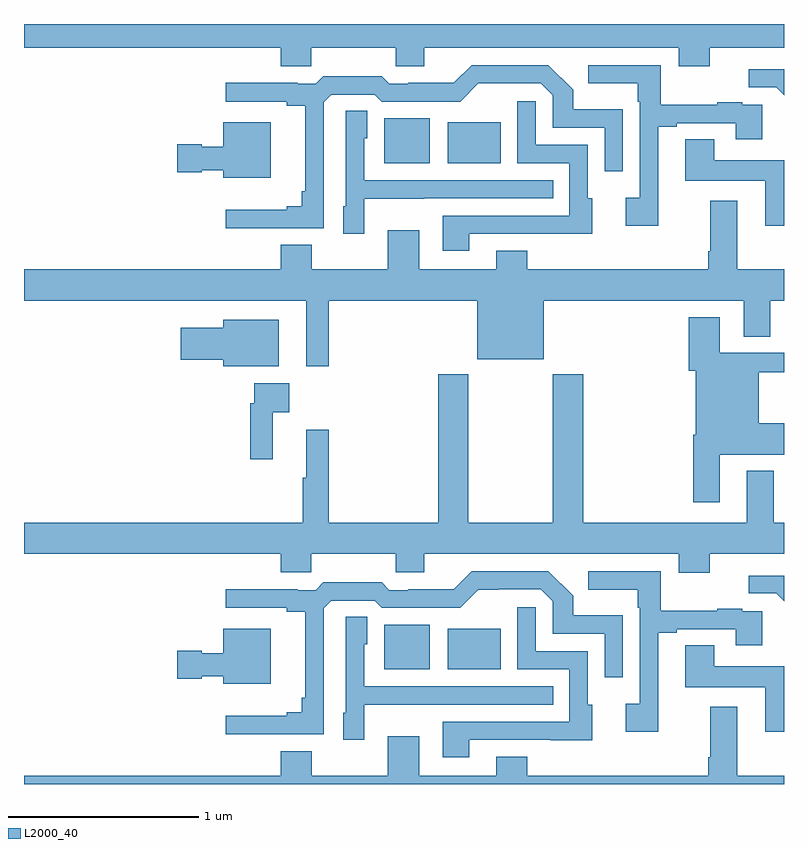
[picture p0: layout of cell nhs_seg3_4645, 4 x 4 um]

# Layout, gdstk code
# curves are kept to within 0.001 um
import gdstk
lib = gdstk.Library(unit=1e-6, precision=1e-09)
def R(c, l, rs):  # rectangles x0, y0, x1, y1
    for r in rs: c.add(gdstk.rectangle(r[:2], r[2:], *l))
def P(c, l, *ps):  # polygons
    for p in ps: c.add(gdstk.Polygon(p, *l))
L2000_40 = (2000, 40)

nhs_seg3_4645 = lib.new_cell('nhs_seg3_4645')
R(nhs_seg3_4645, L2000_40, [(362.897,671.003,363.136,671.239), (363.23,671.003,363.508,671.218), (362.897,673.667,363.136,673.903), (363.23,673.667,363.508,673.882)])
P(nhs_seg3_4645, L2000_40, [(364.609,674.276),(365,674.276),(365,674.4),(361,674.4),(361,674.276),(362.351,674.276),(362.351,674.178),(362.511,674.178),(362.511,674.276),(362.956,674.276),(362.956,674.178),(363.106,674.178),(363.106,674.276),(364.445,674.276),(364.445,674.177),(364.609,674.177)],
  [(364.339,673.86),(364.435,673.86),(364.435,673.878),(364.745,673.878),(364.745,673.794),(364.885,673.794),(364.885,673.974),(364.781,673.974),(364.781,673.987),(364.649,673.987),(364.649,673.976),(364.351,673.976),(364.351,674.184),(363.969,674.184),(363.969,674.087),(364.23,674.087),(364.23,673.991),(364.242,673.991),(364.242,673.486),(364.167,673.486),(364.167,673.338),(364.339,673.338)],
  [(362.577,673.989),(362.616,674.028),(362.847,674.028),(362.883,673.992),(363.297,673.992),(363.392,674.087),(363.72,674.088),(363.783,674.025),(363.783,673.854),(364.056,673.854),(364.056,673.626),(364.152,673.626),(364.152,673.951),(363.891,673.951),(363.891,674.054),(363.76,674.184),(363.357,674.184),(363.263,674.09),(363.022,674.09),(363.022,674.085),(362.922,674.085),(362.883,674.125),(362.575,674.125),(362.535,674.085),(362.441,674.085),(362.441,674.09),(362.061,674.09),(362.061,673.992),(362.384,673.992),(362.384,673.97),(362.48,673.97),(362.48,673.519),(362.461,673.519),(362.461,673.442),(362.384,673.442),(362.384,673.423),(362.061,673.423),(362.061,673.326),(362.577,673.326)],
  [(365,674.161),(364.815,674.161),(364.815,674.067),(364.959,674.067),(365,674.026)],
  [(363.343,673.296),(363.773,673.296),(363.773,673.295),(363.991,673.295),(363.991,673.482),(363.966,673.482),(363.966,673.764),(363.693,673.764),(363.693,673.993),(363.597,673.993),(363.597,673.668),(363.87,673.668),(363.87,673.392),(363.203,673.392),(363.203,673.206),(363.343,673.206)],
  [(362.79,673.481),(363.107,673.481),(363.107,673.482),(363.785,673.482),(363.785,673.578),(362.79,673.578),(362.79,673.8),(362.806,673.8),(362.806,673.943),(362.694,673.943),(362.694,673.44),(362.681,673.44),(362.681,673.296),(362.79,673.296)],
  [(362.299,673.882),(362.048,673.882),(362.048,673.753),(361.935,673.753),(361.935,673.766),(361.806,673.766),(361.806,673.619),(361.935,673.619),(361.935,673.631),(362.048,673.631),(362.048,673.592),(362.299,673.592)],
  [(365,673.684),(364.633,673.684),(364.633,673.793),(364.481,673.793),(364.481,673.574),(364.901,673.574),(364.901,673.338),(365,673.338)],
  [(362.603,672.944),(363.386,672.944),(363.386,672.635),(363.736,672.635),(363.736,672.944),(364.787,672.944),(364.787,672.754),(364.927,672.754),(364.927,672.944),(365,672.944),(365,673.108),(364.753,673.108),(364.753,673.471),(364.613,673.471),(364.613,673.204),(364.601,673.204),(364.601,673.108),(363.649,673.108),(363.649,673.207),(363.485,673.207),(363.485,673.108),(363.079,673.108),(363.079,673.315),(362.915,673.315),(362.915,673.108),(362.515,673.108),(362.515,673.237),(362.351,673.237),(362.351,673.108),(361,673.108),(361,672.944),(362.486,672.944),(362.486,672.6),(362.603,672.6)],
  [(364.663,672.134),(365,672.134),(365,672.298),(364.867,672.298),(364.867,672.568),(365,672.568),(365,672.669),(364.663,672.669),(364.663,672.856),(364.499,672.856),(364.499,672.576),(364.535,672.576),(364.535,672.238),(364.523,672.238),(364.523,671.883),(364.663,671.883)],
  [(362.341,672.844),(362.048,672.844),(362.048,672.802),(361.824,672.802),(361.824,672.632),(362.048,672.632),(362.048,672.599),(362.341,672.599)],
  [(364.609,671.612),(365,671.612),(365,671.776),(364.945,671.776),(364.945,672.049),(364.805,672.049),(364.805,671.776),(363.944,671.776),(363.944,672.556),(363.784,672.556),(363.784,671.776),(363.339,671.776),(363.339,672.556),(363.179,672.556),(363.179,671.776),(362.603,671.776),(362.603,672.265),(362.486,672.265),(362.486,672.012),(362.467,672.012),(362.467,671.776),(361,671.776),(361,671.612),(362.351,671.612),(362.351,671.514),(362.511,671.514),(362.511,671.612),(362.956,671.612),(362.956,671.514),(363.106,671.514),(363.106,671.612),(364.445,671.612),(364.445,671.513),(364.609,671.513)],
  [(362.309,672.356),(362.395,672.356),(362.395,672.508),(362.211,672.508),(362.211,672.404),(362.191,672.404),(362.191,672.108),(362.309,672.108)],
  [(362.577,671.325),(362.616,671.364),(362.847,671.364),(362.883,671.328),(363.297,671.328),(363.392,671.423),(363.72,671.424),(363.783,671.361),(363.783,671.19),(364.056,671.19),(364.056,670.962),(364.152,670.962),(364.152,671.287),(363.891,671.287),(363.891,671.39),(363.76,671.52),(363.357,671.52),(363.263,671.426),(363.022,671.426),(363.022,671.421),(362.922,671.421),(362.883,671.461),(362.575,671.461),(362.535,671.421),(362.441,671.421),(362.441,671.426),(362.061,671.426),(362.061,671.328),(362.384,671.328),(362.384,671.306),(362.48,671.306),(362.48,670.855),(362.461,670.855),(362.461,670.778),(362.384,670.778),(362.384,670.759),(362.061,670.759),(362.061,670.662),(362.577,670.662)],
  [(364.339,671.196),(364.435,671.196),(364.435,671.214),(364.745,671.214),(364.745,671.13),(364.885,671.13),(364.885,671.31),(364.781,671.31),(364.781,671.323),(364.649,671.323),(364.649,671.312),(364.351,671.312),(364.351,671.52),(363.969,671.52),(363.969,671.423),(364.23,671.423),(364.23,671.327),(364.242,671.327),(364.242,670.822),(364.167,670.822),(364.167,670.674),(364.339,670.674)],
  [(365,671.497),(364.815,671.497),(364.815,671.403),(364.959,671.403),(365,671.362)],
  [(363.343,670.632),(363.773,670.632),(363.773,670.631),(363.991,670.631),(363.991,670.818),(363.966,670.818),(363.966,671.1),(363.693,671.1),(363.693,671.329),(363.597,671.329),(363.597,671.004),(363.87,671.004),(363.87,670.728),(363.203,670.728),(363.203,670.542),(363.343,670.542)],
  [(362.79,670.817),(363.107,670.817),(363.107,670.818),(363.785,670.818),(363.785,670.914),(362.79,670.914),(362.79,671.136),(362.806,671.136),(362.806,671.279),(362.694,671.279),(362.694,670.776),(362.681,670.776),(362.681,670.632),(362.79,670.632)],
  [(362.299,671.218),(362.048,671.218),(362.048,671.089),(361.935,671.089),(361.935,671.102),(361.806,671.102),(361.806,670.955),(361.935,670.955),(361.935,670.967),(362.048,670.967),(362.048,670.928),(362.299,670.928)],
  [(365,671.02),(364.633,671.02),(364.633,671.129),(364.481,671.129),(364.481,670.91),(364.901,670.91),(364.901,670.674),(365,670.674)],
  [(365,670.444),(364.753,670.444),(364.753,670.807),(364.613,670.807),(364.613,670.54),(364.601,670.54),(364.601,670.444),(363.649,670.444),(363.649,670.543),(363.485,670.543),(363.485,670.444),(363.079,670.444),(363.079,670.651),(362.915,670.651),(362.915,670.444),(362.515,670.444),(362.515,670.573),(362.351,670.573),(362.351,670.444),(361,670.444),(361,670.4),(365,670.4)])

lib.write_gds('nhs_seg3_4645.gds')
